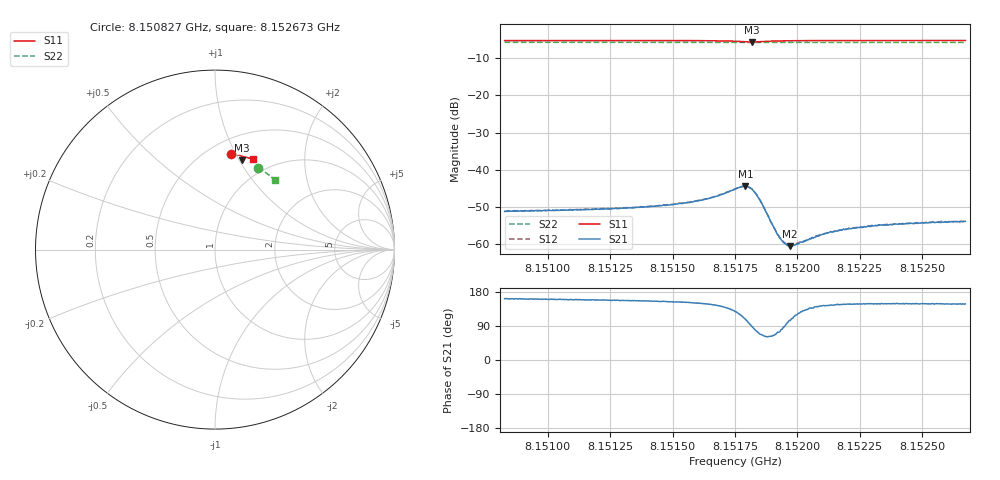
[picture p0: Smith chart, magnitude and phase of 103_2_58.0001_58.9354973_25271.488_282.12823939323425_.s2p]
#  HZ  S  RI  R  50.00
! Rohde & Schwarz Vector Network Analyzer
! Rohde-Schwarz,ZNB20-2Port,1311601062101988,3.16
! Created: UTC 3/21/2024, 12:54:53 AM
! freq[Hz]  re:S11  im:S11  re:S21  im:S21  re:S12  im:S12  re:S22  im:S22
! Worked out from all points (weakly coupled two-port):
!   401 points, 8.150827 GHz to 8.152673 GHz, reference 50 ohm
!   highest |S21| = -44.40 dB at 8.151791 GHz (marker M1); lowest = -60.4 dB at 8.151971 GHz (marker M2)
!   lowest |S11| = -5.7 dB at 8.151819 GHz (marker M3), VSWR 3.16, Z = 37.6 + j51.3 ohm
!   |S11| at or under -10 dB: nowhere
!   |S22| runs from -5.8 to -5.8 dB; largest |S21 - S12| = 0.00015
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8.1508267e9  0.091 0.5348  -0.00263 0.000865  -0.00264 0.000944  0.2399 0.4552
8.1511359e9  0.113 0.5309  -0.00271 0.00104  -0.00274 0.0011  0.257 0.4452
8.1514452e9  0.1358 0.5257  -0.00298 0.00141  -0.003 0.00143  0.2741 0.4346
8.1515605e9  0.1451 0.5227  -0.0032 0.00169  -0.00323 0.0018  0.2802 0.4304
8.1516206e9  0.1503 0.5204  -0.00341 0.00205  -0.00338 0.00213  0.2834 0.4281
8.1516852e9  0.1564 0.5164  -0.00361 0.00272  -0.00361 0.00281  0.2868 0.4256
8.1517498e9  0.1616 0.5074  -0.00342 0.00432  -0.0034 0.00444  0.2901 0.4228
8.1517913e9  0.1578 0.4985  -0.0018 0.00575  -0.00176 0.00579  0.292 0.4213
8.151819e9  0.1497 0.4974  0.000252 0.00547  0.000326 0.00551  0.293 0.4203
8.1518375e9  0.1455 0.5008  0.00116 0.00442  0.00125 0.00445  0.294 0.4198
8.1518559e9  0.1443 0.5058  0.00142 0.00329  0.00149 0.00333  0.2948 0.4193
8.1518975e9  0.1484 0.5133  0.000867 0.0017  0.00091 0.00168  0.2972 0.4181
8.1519252e9  0.1521 0.5154  0.000375 0.00124  0.000338 0.00125  0.2988 0.417
8.1519529e9  0.1555 0.5165  -4.07e-05 0.00102  -2.46e-05 0.00104  0.3003 0.416
8.1519713e9  0.1577 0.5168  -0.000238 0.000929  -0.00022 0.000923  0.3013 0.4153
8.1519898e9  0.1598 0.5168  -0.000438 0.000874  -0.000438 0.000909  0.3021 0.4144
8.152059e9  0.1667 0.5162  -0.000897 0.000838  -0.000917 0.000844  0.3057 0.4119
8.1521237e9  0.1721 0.5152  -0.00115 0.000847  -0.00116 0.000858  0.3091 0.4093
8.1521744e9  0.1762 0.5142  -0.0013 0.000854  -0.0013 0.000866  0.3117 0.4072
8.1522944e9  0.1851 0.5117  -0.00149 0.000909  -0.00151 0.000975  0.3176 0.4023
8.1523683e9  0.1904 0.5101  -0.00157 0.000964  -0.00156 0.00101  0.3214 0.3993
8.1526729e9  0.2111 0.5026  -0.00173 0.00109  -0.00171 0.00111  0.3361 0.3865
